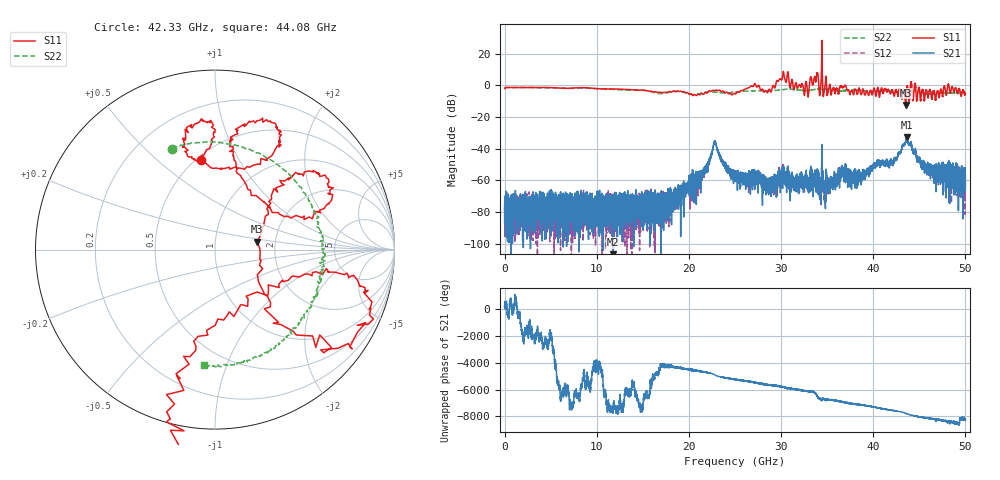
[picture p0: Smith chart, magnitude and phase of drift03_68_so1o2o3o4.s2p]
!Created with skrf (http://scikit-rf.org).
# Hz S RI R 50.0
!freq ReS11 ImS11 ReS21 ImS21 ReS12 ImS12 ReS22 ImS22
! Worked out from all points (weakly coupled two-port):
!   10000 points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, 5.3 MHz to 50 GHz, reference 50 ohm
!   highest |S21| = -32.93 dB at 43.64 GHz (marker M1); lowest = -113.6 dB at 11.78 GHz (marker M2)
!   lowest |S11| = -12.5 dB at 43.52 GHz (marker M3), VSWR 1.62, Z = 79.8 + j7.58 ohm
!   |S11| at or under -10 dB: 43.48431 GHz to 43.55624 GHz (71.93 MHz wide, 0.165 % of centre); 43.90401 GHz to 43.9062 GHz (2.195 MHz wide, 0.005 % of centre)
!   |S22| runs from -5.9 to -1.3 dB; largest |S21 - S12| = 0.012
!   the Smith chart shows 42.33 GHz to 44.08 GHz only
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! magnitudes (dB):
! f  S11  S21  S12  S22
! 5.3 MHz  -2.1  -78.6  -76.4  -2.1
! 8.34 GHz  -1.5  -77.6  -75.9  -1.9
! 11.78 GHz  -2.3  -113.6  -74.2  -2.6
! 16.67 GHz  -4.4  -76.4  -86.6  -5.2
! 21.04 GHz  -5.6  -57.1  -60.4  -5.5
! 21.92 GHz  -4.8  -51.2  -54.1  -4.4
! 22.82 GHz  -3.4  -35.4  -35.2  -4.4
! 25.01 GHz  -5.5  -59.2  -58.8  -4.2
! 27.01 GHz  -0.4  -58.6  -57.0  -3.6
! 28.9 GHz  -4.2  -61.0  -64.8  -3.5
! 30.14 GHz  4.4  -57.3  -55.9  -2.8
! 32.74 GHz  2.0  -60.5  -57.5  -3.3
! 33.34 GHz  2.6  -56.0  -59.0  -2.9
! 33.82 GHz  4.0  -57.9  -59.5  -2.5
! 34.91 GHz  3.9  -59.2  -60.0  -2.3
! 36.5 GHz  -0.3  -55.3  -54.4  -3.8
! 38.46 GHz  -1.6  -55.1  -54.9  -3.0
! 41.67 GHz  -2.9  -49.0  -49.6  -3.7
! 43.52 GHz  -12.5  -35.8  -35.8  -4.2
! 43.64 GHz  -1.4  -32.9  -33.5  -4.0
! 46 GHz  -6.2  -51.9  -51.8  -5.4
! 50 GHz  -5.1  -56.8  -65.4  -5.0
